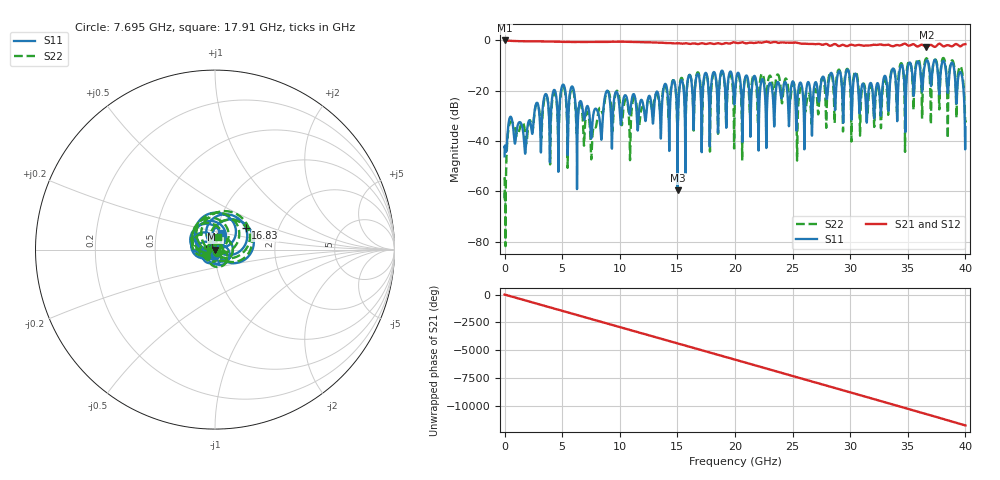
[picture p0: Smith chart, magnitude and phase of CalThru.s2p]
! File created by SignalIntegrity v1.1.1: Signal and Power Integrity Tools
! https://github.com/TeledyneLeCroy/SignalIntegrity
# MHz MA S R 50.0
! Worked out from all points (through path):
!   8000 points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, 5 MHz to 40 GHz, reference 50 ohm
!   highest |S21| = -0.05 dB at 5 MHz (marker M1); lowest = -2.6 dB at 36.62 GHz (marker M2)
!   group delay of S21, straight-line fit = 815 ps
!   lowest |S11| = -59.6 dB at 15.02 GHz (marker M3), VSWR 1.00, Z = 50.1 + j0.00499 ohm
!   |S11| at or under -10 dB: start of sweep to 34.4 GHz; 34.51 GHz to 35.03 GHz (520.3 MHz wide, 1.5 % of centre); 38.97 GHz to end of sweep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
!   |S22| runs from -81.7 to -7.0 dB; largest |S21 - S12| = 0.0015
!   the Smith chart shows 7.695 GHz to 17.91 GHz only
!   S11 on the Smith chart (normalised r, x): 7.695 GHz: 1.00, -0.06; 16.83 GHz: 1.36, +0.35; 17.91 GHz: 1.05, +0.19
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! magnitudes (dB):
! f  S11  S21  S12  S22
! 5 MHz  -46.0  0.0  0.0  -54.3
! 555 MHz  -30.4  -0.2  -0.2  -32.2
! 1.785 GHz  -45.0  -0.3  -0.3  -36.9
! 4.69 GHz  -40.8  -0.5  -0.5  -42.3
! 5.075 GHz  -17.6  -0.6  -0.6  -18.3
! 6.675 GHz  -24.7  -0.7  -0.7  -26.2
! 7.695 GHz  -29.8  -0.6  -0.6  -35.1
! 8.935 GHz  -20.0  -0.6  -0.6  -20.1
! 10.88 GHz  -29.2  -0.6  -0.6  -45.1
! 13.34 GHz  -21.4  -0.9  -0.9  -22.7
! 15.02 GHz  -59.6  -1.1  -1.1  -39.1
! 16.83 GHz  -13.6  -1.5  -1.5  -12.9
! 17.91 GHz  -20.3  -1.2  -1.2  -22.8
! 18.88 GHz  -12.0  -1.5  -1.5  -12.4
! 20 GHz  -21.0  -0.9  -0.9  -22.0
! 23.72 GHz  -16.5  -1.0  -1.0  -13.5
! 26.67 GHz  -36.2  -1.4  -1.4  -32.8
! 29.01 GHz  -12.3  -2.3  -2.3  -11.6
! 33.34 GHz  -27.8  -1.8  -1.8  -26.2
! 36.62 GHz  -8.0  -2.6  -2.6  -7.1
! 39.59 GHz  -12.7  -2.3  -2.3  -10.4
! 40 GHz  -34.5  -1.5  -1.5  -31.8
